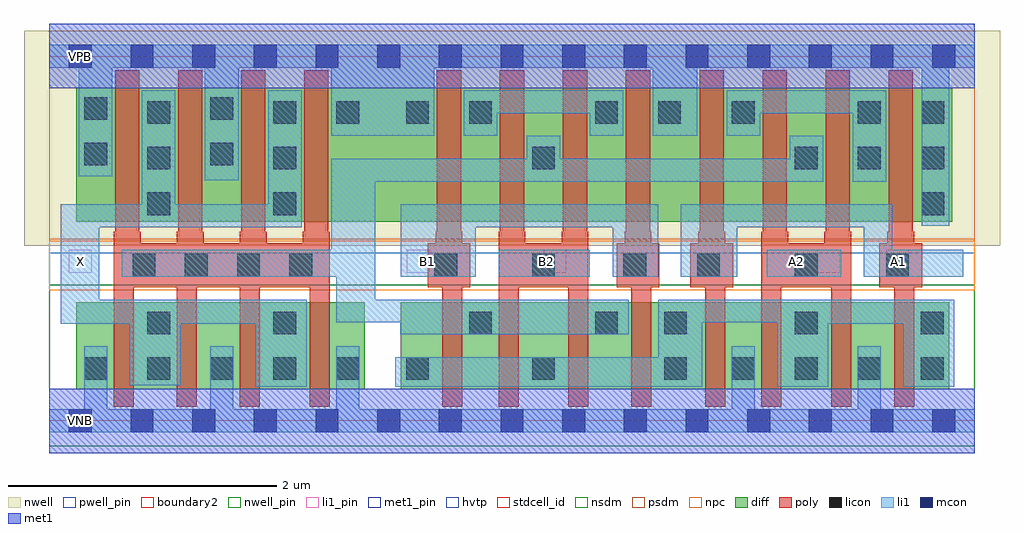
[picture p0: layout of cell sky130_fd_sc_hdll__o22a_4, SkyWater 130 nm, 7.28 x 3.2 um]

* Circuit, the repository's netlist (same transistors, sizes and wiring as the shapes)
* Copyright 2020 The SkyWater PDK Authors
*
* Licensed under the Apache License, Version 2.0 (the "License");
* you may not use this file except in compliance with the License.
* You may obtain a copy of the License at
*
*     https://www.apache.org/licenses/LICENSE-2.0
*
* Unless required by applicable law or agreed to in writing, software
* distributed under the License is distributed on an "AS IS" BASIS,
* WITHOUT WARRANTIES OR CONDITIONS OF ANY KIND, either express or implied.
* See the License for the specific language governing permissions and
* limitations under the License.
*
* SPDX-License-Identifier: Apache-2.0

.SUBCKT sky130_fd_sc_hdll__o22a_4 A1 A2 B1 B2 VGND VNB VPB VPWR X
*.PININFO A1:I A2:I B1:I B2:I VGND:I VNB:I VPB:I VPWR:I X:O
MMPA0 VPWR A1 sndA1 VPB sky130_fd_pr__pfet_01v8_hvt m=2 w=1.0U l=0.18U mult=1 sa=0.265
+ sb=0.265 sd=0.28 area=0.063 perim=1.14
MMPA1 sndA1 A2 y VPB sky130_fd_pr__pfet_01v8_hvt m=2 w=1.0U l=0.18U mult=1 sa=0.265
+ sb=0.265 sd=0.28 area=0.063 perim=1.14
MMPB0 VPWR B1 sndB1 VPB sky130_fd_pr__pfet_01v8_hvt m=2 w=1.0U l=0.18U mult=1 sa=0.265
+ sb=0.265 sd=0.28 area=0.063 perim=1.14
MMPB1 sndB1 B2 y VPB sky130_fd_pr__pfet_01v8_hvt m=2 w=1.0U l=0.18U mult=1 sa=0.265
+ sb=0.265 sd=0.28 area=0.063 perim=1.14
MMIPX X y VPWR VPB sky130_fd_pr__pfet_01v8_hvt m=4 w=1.0U l=0.18U mult=1 sa=0.265
+ sb=0.265 sd=0.28 area=0.063 perim=1.14
MMNA0 pndA A1 VGND VNB sky130_fd_pr__nfet_01v8 m=2 w=0.65U l=0.15U mult=1 sa=0.265
+ sb=0.265 sd=0.28 area=0.063 perim=1.14
MMNA1 pndA A2 VGND VNB sky130_fd_pr__nfet_01v8 m=2 w=0.65U l=0.15U mult=1 sa=0.265
+ sb=0.265 sd=0.28 area=0.063 perim=1.14
MMNB0 y B1 pndA VNB sky130_fd_pr__nfet_01v8 m=2 w=0.65U l=0.15U mult=1 sa=0.265
+ sb=0.265 sd=0.28 area=0.063 perim=1.14
MMNB1 y B2 pndA VNB sky130_fd_pr__nfet_01v8 m=2 w=0.65U l=0.15U mult=1 sa=0.265
+ sb=0.265 sd=0.28 area=0.063 perim=1.14
MMINX X y VGND VNB sky130_fd_pr__nfet_01v8 m=4 w=0.65U l=0.15U mult=1 sa=0.265
+ sb=0.265 sd=0.28 area=0.063 perim=1.14
.ENDS sky130_fd_sc_hdll__o22a_4

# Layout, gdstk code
import gdstk
lib = gdstk.Library(unit=1e-6, precision=1e-09)
def R(c, l, rs):  # rectangles x0, y0, x1, y1
    for r in rs: c.add(gdstk.rectangle(r[:2], r[2:], *l))
def A(c, l, x, y, w, h, nx, ny, dx, dy):  # array of equal rectangles
    R(c, l, [(x+i*dx, y+j*dy, x+i*dx+w, y+j*dy+h) for i in range(nx) for j in range(ny)])
def P(c, l, *ps):  # polygons
    for p in ps: c.add(gdstk.Polygon(p, *l))
nwell_pin = (64, 16)
nwell = (64, 20)
diff = (65, 20)
poly = (66, 20)
licon = (66, 44)
li1_pin = (67, 16)
li1 = (67, 20)
mcon = (67, 44)
met1_pin = (68, 16)
met1 = (68, 20)
hvtp = (78, 44)
stdcell_id = (81, 4)
nsdm = (93, 44)
psdm = (94, 20)
npc = (95, 20)
pwell_pin = (122, 16)
boundary2 = (236, 0)

sky130_fd_sc_hdll__o22a_ = lib.new_cell('sky130_fd_sc_hdll__o22a_4')
R(sky130_fd_sc_hdll__o22a_, nwell_pin, [(0.145,2.635,0.315,2.805)])
R(sky130_fd_sc_hdll__o22a_, nwell, [(-0.19,1.305,7.09,2.91)])
R(sky130_fd_sc_hdll__o22a_, diff, [(0.2,0.235,2.35,0.885), (2.62,0.235,6.71,0.885), (0.2,1.485,6.735,2.485)])
P(sky130_fd_sc_hdll__o22a_, poly, [(2.09,1.41),(2.08,1.41),(2.08,2.615),(1.9,2.615),(1.9,1.41),(1.89,1.41),(1.89,1.325),(1.62,1.325),(1.62,1.41),(1.61,1.41),(1.61,2.615),(1.43,2.615),(1.43,1.41),(1.42,1.41),(1.42,1.325),(1.15,1.325),(1.15,1.41),(1.14,1.41),(1.14,2.615),(0.96,2.615),(0.96,1.41),(0.95,1.41),(0.95,1.325),(0.68,1.325),(0.68,1.41),(0.67,1.41),(0.67,2.615),(0.49,2.615),(0.49,1.41),(0.48,1.41),(0.48,0.105),(0.63,0.105),(0.63,0.995),(0.95,0.995),(0.95,0.105),(1.1,0.105),(1.1,0.995),(1.42,0.995),(1.42,0.105),(1.57,0.105),(1.57,0.995),(1.94,0.995),(1.94,0.105),(2.09,0.105)],
  [(3.14,1.325),(3.08,1.325),(3.08,1.41),(3.07,1.41),(3.07,2.615),(2.89,2.615),(2.89,1.41),(2.88,1.41),(2.88,1.325),(2.82,1.325),(2.82,0.995),(2.93,0.995),(2.93,0.105),(3.08,0.105),(3.08,0.995),(3.14,0.995)],
  [(4.02,1.41),(4.01,1.41),(4.01,2.615),(3.83,2.615),(3.83,1.41),(3.82,1.41),(3.82,1.325),(3.55,1.325),(3.55,1.41),(3.54,1.41),(3.54,2.615),(3.36,2.615),(3.36,1.41),(3.35,1.41),(3.35,0.105),(3.5,0.105),(3.5,0.995),(3.87,0.995),(3.87,0.105),(4.02,0.105)],
  [(4.55,1.325),(4.49,1.325),(4.49,1.41),(4.48,1.41),(4.48,2.615),(4.3,2.615),(4.3,1.41),(4.29,1.41),(4.29,1.325),(4.23,1.325),(4.23,0.995),(4.34,0.995),(4.34,0.105),(4.49,0.105),(4.49,0.995),(4.55,0.995)],
  [(5.1,1.325),(5.04,1.325),(5.04,1.41),(5.03,1.41),(5.03,2.615),(4.85,2.615),(4.85,1.41),(4.84,1.41),(4.84,1.325),(4.78,1.325),(4.78,0.995),(4.89,0.995),(4.89,0.105),(5.04,0.105),(5.04,0.995),(5.1,0.995)],
  [(5.98,1.41),(5.97,1.41),(5.97,2.615),(5.79,2.615),(5.79,1.41),(5.78,1.41),(5.78,1.325),(5.51,1.325),(5.51,1.41),(5.5,1.41),(5.5,2.615),(5.32,2.615),(5.32,1.41),(5.31,1.41),(5.31,0.105),(5.46,0.105),(5.46,0.995),(5.83,0.995),(5.83,0.105),(5.98,0.105)],
  [(6.51,1.325),(6.45,1.325),(6.45,1.41),(6.44,1.41),(6.44,2.615),(6.26,2.615),(6.26,1.41),(6.25,1.41),(6.25,1.325),(6.19,1.325),(6.19,0.995),(6.3,0.995),(6.3,0.105),(6.45,0.105),(6.45,0.995),(6.51,0.995)])
A(sky130_fd_sc_hdll__o22a_, licon, 0.26, 0.305, 0.17, 0.17, 5, 1, 0.47, 0)
A(sky130_fd_sc_hdll__o22a_, licon, 5.09, 0.305, 0.17, 0.17, 4, 1, 0.47, 0)
A(sky130_fd_sc_hdll__o22a_, licon, 0.62, 1.075, 0.17, 0.17, 4, 1, 0.39, 0)
A(sky130_fd_sc_hdll__o22a_, licon, 0.73, 1.535, 0.17, 0.17, 1, 3, 0, 0.34)
A(sky130_fd_sc_hdll__o22a_, licon, 1.67, 1.535, 0.17, 0.17, 1, 3, 0, 0.34)
A(sky130_fd_sc_hdll__o22a_, licon, 6.505, 1.535, 0.17, 0.17, 1, 3, 0, 0.34)
R(sky130_fd_sc_hdll__o22a_, licon, [(2.66,0.305,2.83,0.475), (3.6,0.305,3.77,0.475), (4.585,0.305,4.755,0.475), (0.73,0.645,0.9,0.815), (1.67,0.645,1.84,0.815), (3.13,0.645,3.3,0.815), (4.07,0.645,4.24,0.815), (4.585,0.645,4.755,0.815), (5.56,0.645,5.73,0.815), (6.5,0.645,6.67,0.815), (2.87,1.075,3.04,1.245), (3.6,1.075,3.77,1.245), (4.28,1.075,4.45,1.245), (4.83,1.075,5,1.245), (5.56,1.075,5.73,1.245), (6.24,1.075,6.41,1.245), (3.6,1.875,3.77,2.045), (5.56,1.875,5.73,2.045), (6.03,1.875,6.2,2.045), (0.26,1.905,0.43,2.075), (1.2,1.905,1.37,2.075), (2.14,2.215,2.31,2.385), (2.66,2.215,2.83,2.385), (3.13,2.215,3.3,2.385), (4.07,2.215,4.24,2.385), (4.54,2.215,4.71,2.385), (5.09,2.215,5.26,2.385), (6.03,2.215,6.2,2.385), (0.26,2.245,0.43,2.415), (1.2,2.245,1.37,2.415)])
R(sky130_fd_sc_hdll__o22a_, li1_pin, [(0.145,1.105,0.315,1.275), (2.665,1.105,2.835,1.275), (3.685,1.105,3.855,1.275), (5.725,1.105,5.895,1.275), (6.24,1.105,6.41,1.275)])
R(sky130_fd_sc_hdll__o22a_, li1, [(3.35,1.075,4.03,1.275), (5.35,1.075,5.905,1.275)])
P(sky130_fd_sc_hdll__o22a_, li1, [(6.9,0.085),(6.2,0.085),(6.2,0.555),(6.03,0.555),(6.03,0.085),(5.26,0.085),(5.26,0.555),(5.09,0.555),(5.09,0.085),(2.31,0.085),(2.31,0.555),(2.14,0.555),(2.14,0.085),(1.37,0.085),(1.37,0.555),(1.2,0.555),(1.2,0.085),(0.43,0.085),(0.43,0.555),(0.26,0.555),(0.26,0.085),(0,0.085),(0,-0.085),(6.9,-0.085)],
  [(6.815,1.275),(6.285,1.275),(6.285,1.615),(4.71,1.615),(4.71,1.075),(5.13,1.075),(5.13,1.445),(6.075,1.445),(6.075,1.075),(6.815,1.075)],
  [(6.75,0.905),(4.54,0.905),(4.54,0.475),(2.58,0.475),(2.58,0.255),(4.87,0.255),(4.87,0.735),(5.43,0.735),(5.43,0.255),(5.81,0.255),(5.81,0.725),(6.37,0.725),(6.37,0.255),(6.75,0.255)],
  [(4.28,2.465),(3.09,2.465),(3.09,2.125),(3.34,2.125),(3.34,2.295),(4.03,2.295),(4.03,2.125),(4.28,2.125)],
  [(5.77,2.125),(5.52,2.125),(5.52,1.955),(3.81,1.955),(3.81,2.125),(3.56,2.125),(3.56,1.955),(2.1,1.955),(2.1,1.275),(0.54,1.275),(0.54,1.075),(2.14,1.075),(2.14,0.735),(2.615,0.735),(2.615,0.645),(4.32,0.645),(4.32,0.905),(2.43,0.905),(2.43,1.785),(5.77,1.785)],
  [(6.24,2.465),(5.05,2.465),(5.05,2.125),(5.3,2.125),(5.3,2.295),(5.99,2.295),(5.99,1.785),(6.24,1.785)],
  [(6.9,2.805),(0,2.805),(0,2.635),(0.22,2.635),(0.22,1.825),(0.47,1.825),(0.47,2.635),(1.16,2.635),(1.16,1.795),(1.41,1.795),(1.41,2.635),(2.1,2.635),(2.1,2.125),(2.87,2.125),(2.87,2.635),(4.5,2.635),(4.5,2.125),(4.83,2.125),(4.83,2.635),(6.505,2.635),(6.505,1.455),(6.71,1.455),(6.71,2.635),(6.9,2.635)],
  [(1.92,0.905),(0.37,0.905),(0.37,1.445),(1.88,1.445),(1.88,2.465),(1.63,2.465),(1.63,1.615),(0.94,1.615),(0.94,2.465),(0.69,2.465),(0.69,1.615),(0.085,1.615),(0.085,0.725),(0.6,0.725),(0.6,0.265),(0.98,0.265),(0.98,0.725),(1.54,0.725),(1.54,0.255),(1.92,0.255)],
  [(4.54,1.615),(2.62,1.615),(2.62,1.075),(3.18,1.075),(3.18,1.445),(4.2,1.445),(4.2,1.075),(4.54,1.075)])
A(sky130_fd_sc_hdll__o22a_, mcon, 0.145, -0.085, 0.17, 0.17, 15, 2, 0.46, 2.72)
R(sky130_fd_sc_hdll__o22a_, met1_pin, [(0.145,-0.085,0.315,0.085), (0.145,2.635,0.315,2.805)])
R(sky130_fd_sc_hdll__o22a_, met1, [(0,-0.24,6.9,0.24), (0,2.48,6.9,2.96)])
R(sky130_fd_sc_hdll__o22a_, hvtp, [(0,1.25,6.9,2.72)])
R(sky130_fd_sc_hdll__o22a_, stdcell_id, [(0,0,6.9,2.72)])
R(sky130_fd_sc_hdll__o22a_, nsdm, [(0,-0.19,6.9,1.015)])
R(sky130_fd_sc_hdll__o22a_, psdm, [(0,1.355,6.9,2.91)])
R(sky130_fd_sc_hdll__o22a_, npc, [(0,0.975,6.9,1.345)])
R(sky130_fd_sc_hdll__o22a_, pwell_pin, [(0.145,-0.085,0.315,0.085)])
R(sky130_fd_sc_hdll__o22a_, boundary2, [(0,0,6.9,2.72)])
sky130_fd_sc_hdll__o22a_.add(gdstk.Label('B2', (3.705,1.19), layer=67, texttype=5))
sky130_fd_sc_hdll__o22a_.add(gdstk.Label('B1', (2.82,1.19), layer=67, texttype=5))
sky130_fd_sc_hdll__o22a_.add(gdstk.Label('X', (0.23,1.19), layer=67, texttype=5))
sky130_fd_sc_hdll__o22a_.add(gdstk.Label('A1', (6.335,1.19), layer=67, texttype=5))
sky130_fd_sc_hdll__o22a_.add(gdstk.Label('A2', (5.575,1.19), layer=67, texttype=5))
sky130_fd_sc_hdll__o22a_.add(gdstk.Label('VNB', (0.23,0), layer=64, texttype=59))
sky130_fd_sc_hdll__o22a_.add(gdstk.Label('VPB', (0.23,2.72), layer=64, texttype=5))
sky130_fd_sc_hdll__o22a_.add(gdstk.Label('VGND', (0.23,0), layer=68, texttype=5))
sky130_fd_sc_hdll__o22a_.add(gdstk.Label('VPWR', (0.23,2.72), layer=68, texttype=5))
sky130_fd_sc_hdll__o22a_.add(gdstk.Label('o22a_4', (0,0), layer=83, texttype=44))

lib.write_gds('sky130_fd_sc_hdll__o22a_4.gds')
